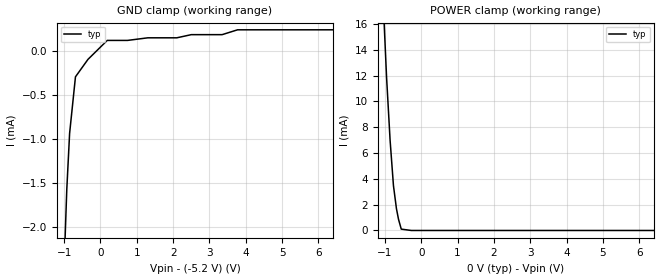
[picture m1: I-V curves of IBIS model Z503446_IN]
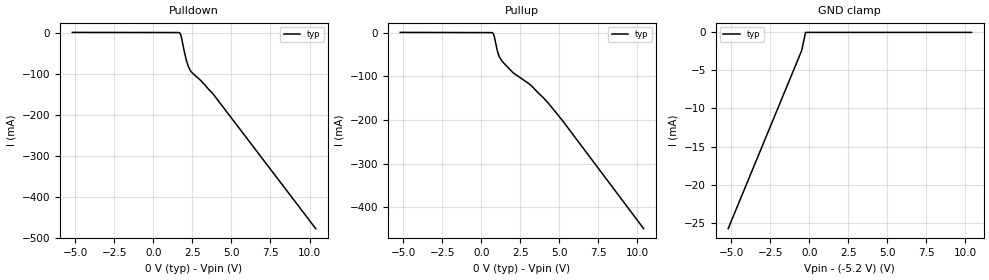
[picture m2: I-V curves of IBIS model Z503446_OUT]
| YOU ARE ONLY AUTHORIZED TO USE THIS SOFTWARE
| ACCORDING TO LICENSOR'S LICENSE RESTRICTIONS.
[IBIS Ver] 3.1
[File Name] mc10h131l.ibs
[File Rev] 2.0
[Source] Measured and created by ICX Technology
[Date] Friday 7/14/00 9:07:50 AM
[Copyright]
| (C) COPYRIGHT 1993-2000
| MENTOR GRAPHICS CORPORATION
| ICX STANDARD LIBRARY, ICX PROJECT MODELING,
| ICX CUSTOM MODELING, ICX VENDOR MODEL
| ALL RIGHTS RESERVED.
| THE FOLLOWING ARE TRADEMARKS OR SERVICE MARKS OF
| MENTOR GRAPHICS CORPORATION:ICX (R), ICX STANDARD
| LIBRARY(R), ICX PROJECT MODELING(R), ICX CUSTOM
| MODELING(R), qualityIBIS(TM), MODELVIEWER(TM),
| AND MODELEDITOR(TM)
| ALL COPIES OF SOFTWARE, INCLUDING BUT NOT LIMITED TO
| ANY MODIFICATIONS, ENHANCEMENTS OR DERIVATIVE WORKS,
| MUST CONTAIN ALL MENTOR GRAPHICS CORPORATION'S
| NOTICES AND LEGENDS, INCLUDING THOSE EMBEDDED IN
| SOFTWARE AND THOSE AFFIXED TO SOFTWARE MEDIUM
| AND CONTAINER, AS RECEIVED FROM MENTOR GRAPHICS
| CORPORATION.
|  ZAP Model Builder 2.7
[Component] MC10H131L
[Manufacturer] OnSemiconductor
[Package]
| variable   typ   min   max
R_pkg  .212ohms NA NA
L_pkg  4.758nH NA NA
C_pkg  1.944pF NA NA
[Pin] signal_name  model_name  R_pin  L_pin C_pin
1 VCC1 POWER .224 7.258n 2.683p
2 Q1 Z503446_OUT .216 5.258n 2.19p
3 _Q1 Z503446_OUT .208 3.758n 1.697p
4 R1A Z503446_IN .2 2.758n 1.204p
5 S1 Z503446_IN .2 2.758n 1.204p
6 _CE Z503446_IN .208 3.758n 1.697p
7 D1 Z503446_IN .216 5.258n 2.19p
8 VEE POWER .224 7.258n 2.683p
9 CLK Z503446_IN .224 7.258n 2.683p
10 D2 Z503446_IN .216 5.258n 2.19p
11 _CE Z503446_IN .208 3.758n 1.697p
12 S2 Z503446_IN .2 2.758n 1.204p
13 R2A Z503446_IN .2 2.758n 1.204p
14 _Q2 Z503446_OUT .208 3.758n 1.697p
15 Q2 Z503446_OUT .216 5.258n 2.19p
16 VCC2 POWER .224 7.258n 2.683p
| Models and submodels in the file (2): Z503446_IN (Input_ECL), Z503446_OUT (Output_ECL)
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| (C) COPYRIGHT 1993-2000
| MENTOR GRAPHICS CORPORATION
| ICX STANDARD LIBRARY, ICX PROJECT MODELING,
| ICX CUSTOM MODELING, ICX VENDOR MODEL
| ALL RIGHTS RESERVED.
| THE FOLLOWING ARE TRADEMARKS OR SERVICE MARKS OF
| MENTOR GRAPHICS CORPORATION:ICX (R), ICX STANDARD
| LIBRARY(R), ICX PROJECT MODELING(R), ICX CUSTOM
| MODELING(R), qualityIBIS(TM), MODELVIEWER(TM),
| AND MODELEDITOR(TM)
| ALL COPIES OF SOFTWARE, INCLUDING BUT NOT LIMITED TO
| ANY MODIFICATIONS, ENHANCEMENTS OR DERIVATIVE WORKS,
| MUST CONTAIN ALL MENTOR GRAPHICS CORPORATION'S
| NOTICES AND LEGENDS, INCLUDING THOSE EMBEDDED IN
| SOFTWARE AND THOSE AFFIXED TO SOFTWARE MEDIUM
| AND CONTAINER, AS RECEIVED FROM MENTOR GRAPHICS
| CORPORATION.
| Model Application Version 1.89 2/18/99.
[Model] Z503446_IN
Model_type Input_ECL
Vinl = -1.480V
Vinh = -1.130V
C_comp 4.000pF NA NA
| variable typ   min   max
[Voltage Range] -5.200V NA NA
[GND Clamp Reference] -5.200V NA NA
[POWER Clamp Reference] 0.000V NA NA
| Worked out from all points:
|   GND clamp passes 1 mA (typ) near -0.86 V on its own axis
|   POWER clamp passes 1 mA (typ) near -0.64 V on its own axis
[GND Clamp]
-5.2V     -107.3mA   NA         NA
-1.009V   -2.533mA   NA         NA
-928mV    -1.572mA   NA         NA
-850mV    -935.8uA   NA         NA
-689mV    -296.4uA   NA         NA
-344.5mV  -98.91uA   NA         NA
186mV     115.6uA    NA         NA
2.101V    145uA      NA         NA
2.5V      180.8uA    NA         NA
3.349V    180.8uA    NA         NA
3.774V    235.6uA    NA         NA
10.4V     235.6uA    NA         NA
[POWER Clamp]
-5.2V     366mA      NA         NA
-1.753V   68.88mA    NA         NA
-1.348V   37.92mA    NA         NA
-1.143V   23.61mA    NA         NA
-957mV    11.92mA    NA         NA
-859.4mV  7.003mA    NA         NA
-766.6mV  3.476mA    NA         NA
-683.9mV  1.684mA    NA         NA
-626.9mV  861.4uA    NA         NA
-551.7mV  105.2uA    NA         NA
-275.8mV  0A         NA         NA
10.4V     0A         NA         NA
| (C) COPYRIGHT 1993-2000
| MENTOR GRAPHICS CORPORATION
| ICX STANDARD LIBRARY, ICX PROJECT MODELING,
| ICX CUSTOM MODELING, ICX VENDOR MODEL
| ALL RIGHTS RESERVED.
| THE FOLLOWING ARE TRADEMARKS OR SERVICE MARKS OF
| MENTOR GRAPHICS CORPORATION:ICX (R), ICX STANDARD
| LIBRARY(R), ICX PROJECT MODELING(R), ICX CUSTOM
| MODELING(R), qualityIBIS(TM), MODELVIEWER(TM),
| AND MODELEDITOR(TM)
| ALL COPIES OF SOFTWARE, INCLUDING BUT NOT LIMITED TO
| ANY MODIFICATIONS, ENHANCEMENTS OR DERIVATIVE WORKS,
| MUST CONTAIN ALL MENTOR GRAPHICS CORPORATION'S
| NOTICES AND LEGENDS, INCLUDING THOSE EMBEDDED IN
| SOFTWARE AND THOSE AFFIXED TO SOFTWARE MEDIUM
| AND CONTAINER, AS RECEIVED FROM MENTOR GRAPHICS
| CORPORATION.
| Model Application Version 1.89 2/18/99.
[Model] Z503446_OUT
Model_type Output_ECL
Vref=-2.000V
Rref=50.00ohms
Cref=0.000F
Vmeas=-1.305V
C_comp 8.000pF NA NA
| variable typ   min   max
[Voltage Range] -5.200V NA NA
[POWER Clamp Reference] 0.000V NA NA
[Pullup Reference] 0.000V NA NA
[Pulldown Reference] 0.000V NA NA
[GND Clamp Reference] -5.200V NA NA
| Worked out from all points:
|   GND clamp passes 1 mA (typ) near -0.34 V on its own axis
[GND Clamp]
-5.2V     -25.8mA    NA         NA
-485mV    -2.372mA   NA         NA
-242.5mV  0A         NA         NA
10.4V     0A         NA         NA
[Pulldown]
-5.2V     357uA      NA         NA
1.684V    -1.047mA   NA         NA
1.777V    -8.848mA   NA         NA
1.973V    -45.82mA   NA         NA
2.107V    -67.52mA   NA         NA
2.232V    -82.32mA   NA         NA
2.398V    -94.49mA   NA         NA
2.997V    -115.6mA   NA         NA
3.799V    -148.5mA   NA         NA
10.4V     -477.9mA   NA         NA
[Pullup]
-5.2V     507.9uA    NA         NA
728.5mV   -958.8uA   NA         NA
820mV     -7.739mA   NA         NA
986.9mV   -35.96mA   NA         NA
1.073V    -47.99mA   NA         NA
1.182V    -57.5mA    NA         NA
1.334V    -65.92mA   NA         NA
2.041V    -92.22mA   NA         NA
3.228V    -122.4mA   NA         NA
4.263V    -160.4mA   NA         NA
5.18V     -200.7mA   NA         NA
10.4V     -449.1mA   NA         NA
[POWER Clamp]
-5.2V     0A         NA         NA
10.4V     0A         NA         NA
[Ramp]
| variable typ min max
dV/dt_r 539.7m/1.030n NA NA
dV/dt_f 539.7m/949.6p NA NA
R_load = 500.0Ohms
